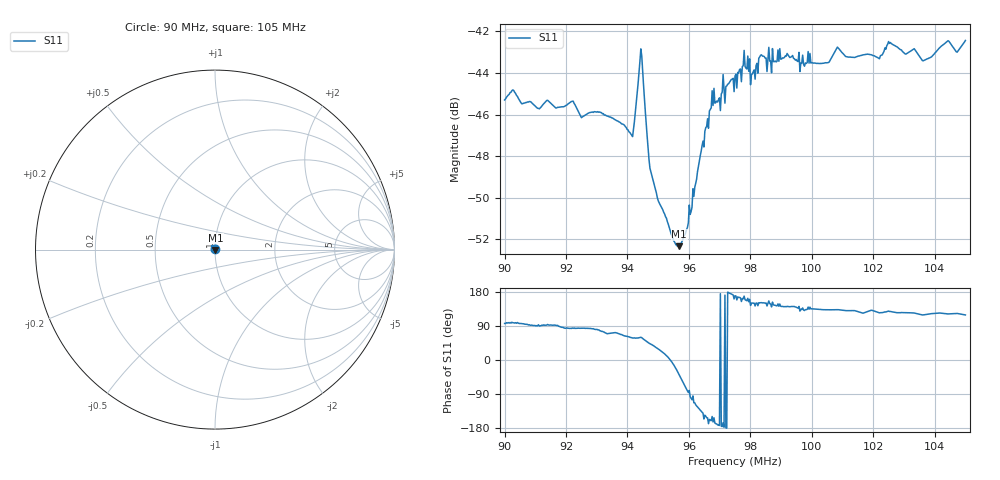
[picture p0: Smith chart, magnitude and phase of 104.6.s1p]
# HZ S RI R 50
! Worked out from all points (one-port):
!   505 points, 90 MHz to 105 MHz, reference 50 ohm
!   lowest |S11| = -52.3 dB at 95.68 MHz (marker M1), VSWR 1.00, Z = 50.2 - j0.154 ohm
!   |S11| at or under -10 dB: start of sweep to end of sweep
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9e7  -0.000606 0.0054
9.026786e7  -0.000822 0.00569
9.059524e7  -0.000536 0.0053
9.187501e7  0.000359 0.00522
9.375001e7  0.00176 0.00447
9.416668e7  0.00234 0.00377
9.443454e7  0.00362 0.00624
9.449406e7  0.0035 0.00533
9.467263e7  0.00288 0.00299
9.476192e7  0.00273 0.00242
9.502978e7  0.00273 0.00142
9.562502e7  0.0021 -0.00121
9.568454e7  0.00187 -0.00153
9.592264e7  0.000587 -0.00258
9.675597e7  -0.00491 -0.00293
9.750002e7  -0.0061 0.00113
9.785717e7  -0.00599 0.00247
9.80655e7  -0.00544 0.00314
9.836312e7  -0.00612 0.00335
9.937503e7  -0.00543 0.00435
1.004762e8  -0.00452 0.00492
1.008631e8  -0.00492 0.00532
1.0125e8  -0.00446 0.00526
1.021727e8  -0.00395 0.0056
1.025298e8  -0.00458 0.00585
1.03125e8  -0.00403 0.00579
1.036608e8  -0.00332 0.00591
1.05e8  -0.00365 0.00662
